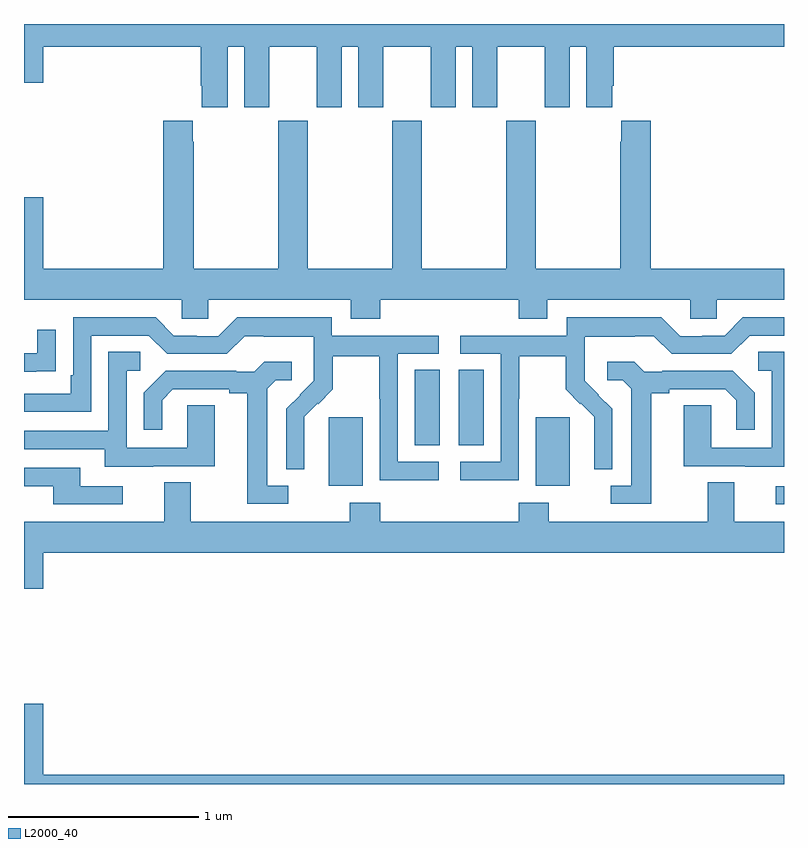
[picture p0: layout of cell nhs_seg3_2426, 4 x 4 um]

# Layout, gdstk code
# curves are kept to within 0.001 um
import gdstk
lib = gdstk.Library(unit=1e-6, precision=1e-09)
def R(c, l, rs):  # rectangles x0, y0, x1, y1
    for r in rs: c.add(gdstk.rectangle(r[:2], r[2:], *l))
def P(c, l, *ps):  # polygons
    for p in ps: c.add(gdstk.Polygon(p, *l))
L2000_40 = (2000, 40)

nhs_seg3_2426 = lib.new_cell('nhs_seg3_2426')
R(nhs_seg3_2426, L2000_40, [(240.957,667.872,241,667.968), (238.604,667.97,238.783,668.331), (239.693,667.97,239.872,668.331), (239.057,668.182,239.188,668.579), (239.288,668.182,239.419,668.579)])
P(nhs_seg3_2426, L2000_40, [(238.072,670.28),(238.16,670.28),(238.16,669.963),(238.291,669.963),(238.291,670.28),(238.541,670.28),(238.541,669.963),(238.672,669.963),(238.672,670.28),(238.76,670.28),(238.76,669.963),(238.891,669.963),(238.891,670.28),(239.141,670.28),(239.141,669.963),(239.272,669.963),(239.272,670.28),(239.36,670.28),(239.36,669.963),(239.491,669.963),(239.491,670.28),(239.741,670.28),(239.741,669.963),(239.872,669.963),(239.872,670.28),(239.96,670.28),(239.96,669.963),(240.097,669.963),(240.097,670.075),(240.104,670.075),(240.104,670.28),(241,670.28),(241,670.4),(237,670.4),(237,670.092),(237.1,670.092),(237.1,670.28),(237.929,670.28),(237.929,670.075),(237.935,670.075),(237.935,669.963),(238.072,669.963)],
  [(238.874,668.948),(239.603,668.948),(239.603,668.849),(239.755,668.849),(239.755,668.948),(240.507,668.948),(240.507,668.85),(240.645,668.85),(240.645,668.948),(241,668.948),(241,669.112),(240.299,669.112),(240.299,669.892),(240.143,669.892),(240.143,669.779),(240.139,669.779),(240.139,669.112),(239.694,669.112),(239.694,669.892),(239.539,669.892),(239.539,669.112),(239.094,669.112),(239.094,669.892),(238.939,669.892),(238.939,669.112),(238.494,669.112),(238.494,669.892),(238.339,669.892),(238.339,669.112),(237.894,669.112),(237.894,669.779),(237.889,669.779),(237.889,669.892),(237.734,669.892),(237.734,669.112),(237.1,669.112),(237.1,669.487),(237,669.487),(237,668.948),(237.831,668.948),(237.831,668.85),(237.969,668.85),(237.969,668.948),(238.721,668.948),(238.721,668.849),(238.874,668.849)],
  [(239.604,668.428),(239.607,668.428),(239.607,668.652),(239.851,668.652),(239.851,668.477),(239.928,668.4),(239.931,668.403),(240.002,668.333),(240.002,668.21),(240,668.21),(240,668.056),(240.096,668.056),(240.096,668.374),(239.95,668.522),(239.95,668.619),(239.952,668.619),(239.952,668.753),(240.215,668.753),(240.215,668.757),(240.315,668.757),(240.408,668.664),(240.723,668.664),(240.819,668.76),(241,668.76),(241,668.856),(240.783,668.856),(240.687,668.76),(240.569,668.76),(240.569,668.757),(240.453,668.757),(240.353,668.857),(239.856,668.857),(239.856,668.76),(239.295,668.76),(239.295,668.664),(239.508,668.664),(239.508,668.097),(239.295,668.097),(239.295,667.999),(239.604,667.999)],
  [(239.182,668.097),(238.968,668.097),(238.968,668.664),(239.182,668.664),(239.182,668.76),(238.62,668.76),(238.62,668.857),(238.123,668.857),(238.023,668.757),(237.908,668.757),(237.908,668.76),(237.789,668.76),(237.693,668.856),(237.258,668.856),(237.258,668.551),(237.245,668.551),(237.245,668.454),(237,668.454),(237,668.358),(237.354,668.358),(237.354,668.76),(237.657,668.76),(237.753,668.664),(238.068,668.664),(238.161,668.757),(238.261,668.757),(238.261,668.753),(238.524,668.753),(238.524,668.619),(238.526,668.619),(238.526,668.522),(238.38,668.374),(238.38,668.056),(238.476,668.056),(238.475,668.333),(238.545,668.403),(238.548,668.4),(238.625,668.477),(238.625,668.652),(238.87,668.652),(238.87,668.428),(238.872,668.428),(238.872,667.999),(239.182,667.999)],
  [(237.065,668.572),(237.167,668.572),(237.167,668.791),(237.071,668.791),(237.071,668.667),(237,668.667),(237,668.571),(237.065,668.571)],
  [(237.679,668.073),(238.003,668.073),(238.003,668.393),(237.858,668.393),(237.858,668.169),(237.54,668.169),(237.54,668.574),(237.613,668.574),(237.613,668.675),(237.444,668.675),(237.444,668.259),(237,668.259),(237,668.163),(237.425,668.163),(237.425,668.069),(237.679,668.069)],
  [(241,668.675),(240.864,668.675),(240.864,668.574),(240.936,668.574),(240.936,668.169),(240.618,668.169),(240.618,668.393),(240.473,668.393),(240.473,668.073),(240.797,668.073),(240.797,668.069),(241,668.069)],
  [(240.301,668.456),(240.397,668.456),(240.397,668.478),(240.692,668.478),(240.749,668.421),(240.749,668.265),(240.846,668.265),(240.846,668.458),(240.73,668.574),(240.358,668.574),(240.358,668.571),(240.264,668.571),(240.212,668.623),(240.069,668.623),(240.069,668.526),(240.15,668.526),(240.197,668.479),(240.197,667.971),(240.087,667.971),(240.087,667.875),(240.301,667.875)],
  [(238.39,667.971),(238.279,667.971),(238.279,668.479),(238.326,668.526),(238.408,668.526),(238.408,668.623),(238.264,668.623),(238.212,668.571),(238.118,668.571),(238.118,668.574),(237.746,668.574),(237.63,668.458),(237.63,668.265),(237.727,668.265),(237.727,668.421),(237.784,668.478),(238.079,668.478),(238.079,668.456),(238.175,668.456),(238.175,667.875),(238.39,667.875)],
  [(237.52,667.968),(237.295,667.968),(237.295,668.064),(237,668.064),(237,667.968),(237.155,667.968),(237.155,667.872),(237.52,667.872)],
  [(237.1,667.616),(241,667.616),(241,667.78),(240.739,667.78),(240.739,667.988),(240.599,667.988),(240.599,667.78),(239.763,667.78),(239.763,667.879),(239.603,667.879),(239.603,667.78),(238.874,667.78),(238.874,667.879),(238.714,667.879),(238.714,667.78),(237.877,667.78),(237.877,667.988),(237.737,667.988),(237.737,667.78),(237,667.78),(237,667.428),(237.1,667.428)],
  [(241,666.448),(237.1,666.448),(237.1,666.823),(237,666.823),(237,666.4),(241,666.4)])

lib.write_gds('nhs_seg3_2426.gds')
